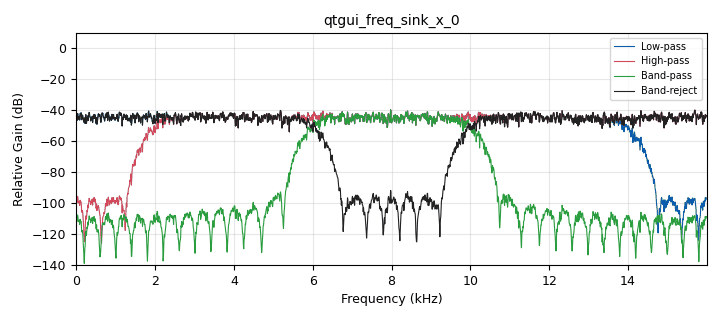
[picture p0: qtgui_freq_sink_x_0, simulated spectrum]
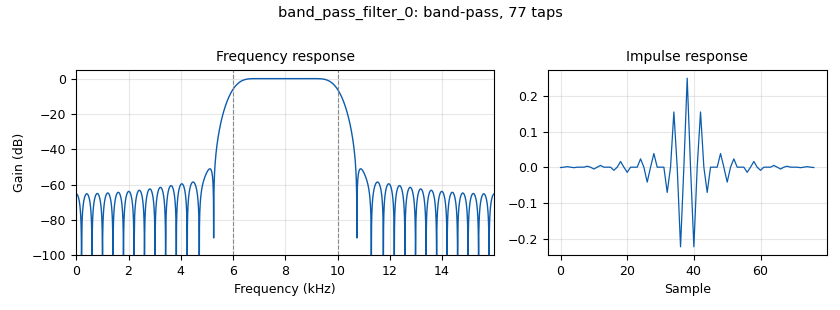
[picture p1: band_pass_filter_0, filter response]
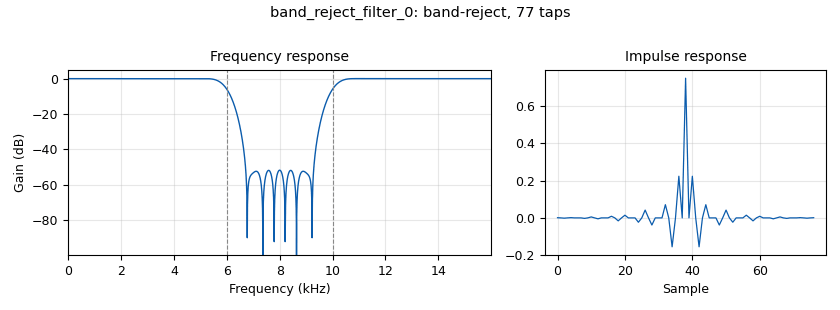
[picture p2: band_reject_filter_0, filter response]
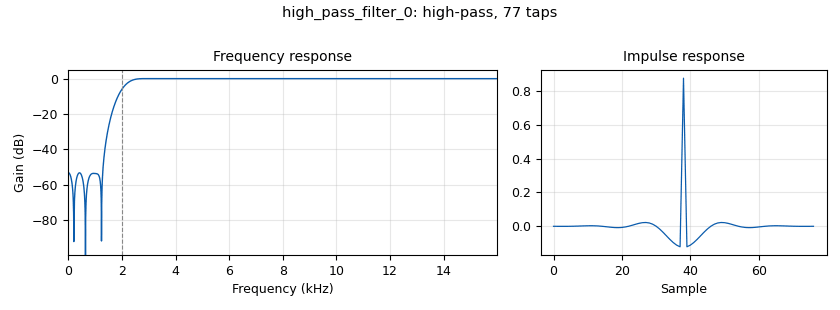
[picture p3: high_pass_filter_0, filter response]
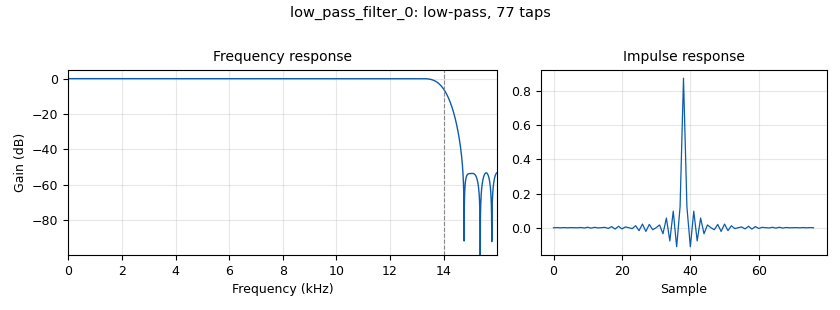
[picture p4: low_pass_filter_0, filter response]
options:
  parameters:
    author: Jay Patel; GNURadio
    category: Custom
    description: Filter taps Introduction
    generate_options: qt_gui
    id: filter_taps
    output_language: python
    title: Filter Introduction
  states: {}

blocks:
- name: bp_high
  id: variable
  parameters:
    value: '10000'
  states: {state: disabled}
- name: bp_high
  id: variable_qtgui_range
  parameters:
    comment: BP_lower_cutoff
    label: BP High-cutoff
    rangeType: int
    start: '9000'
    step: '1000'
    stop: '13000'
    value: '10000'
  states: {}
- name: bp_low
  id: variable
  parameters:
    value: '6000'
  states: {state: disabled}
- name: bp_low
  id: variable_qtgui_range
  parameters:
    comment: BP_lower_cutoff
    label: BP Low-cutoff
    rangeType: int
    start: '2000'
    step: '1000'
    stop: '8000'
    value: '6000'
  states: {}
- name: bp_taps
  id: variable_band_pass_filter_taps
  parameters:
    gain: '1.0'
    high_cutoff_freq: bp_high
    low_cutoff_freq: bp_low
    samp_rate: samp_rate
    type: band_pass
    width: transition
    win: window.WIN_HAMMING
  states: {}
- name: bp_taps_value
  id: variable
  parameters:
    value: print("This is bp_taps",bp_taps)
  states: {state: disabled}
- name: br_taps
  id: variable_band_reject_filter_taps
  parameters:
    gain: '1.0'
    high_cutoff_freq: bp_high
    low_cutoff_freq: bp_low
    samp_rate: samp_rate
    type: band_reject
    width: transition
    win: window.WIN_HAMMING
  states: {}
- name: hp_cutoff
  id: variable
  parameters:
    value: '2000'
  states: {state: disabled}
- name: hp_cutoff
  id: variable_qtgui_range
  parameters:
    comment: High-pass cutoff
    label: HP Cutoff
    rangeType: int
    start: '1000'
    step: '1000'
    stop: '6000'
    value: '2000'
  states: {}
- name: hp_taps
  id: variable_high_pass_filter_taps
  parameters:
    cutoff_freq: hp_cutoff
    gain: '1.0'
    samp_rate: samp_rate
    width: transition
    win: window.WIN_HAMMING
  states: {}
- name: hp_taps_value
  id: variable
  parameters:
    value: print("This is hp_taps",hp_taps)
  states: {state: disabled}
- name: len_taps
  id: variable
  parameters:
    comment: |-
      Display the number
      of taps (coefficients)
    value: len(lp_taps)
  states: {}
- name: lp_cutoff
  id: variable
  parameters:
    value: '14000'
  states: {state: disabled}
- name: lp_cutoff
  id: variable_qtgui_range
  parameters:
    comment: Low-pass cutoff
    label: LP Cutoff
    rangeType: int
    start: '10000'
    step: '1000'
    stop: '16000'
    value: '14000'
  states: {}
- name: lp_taps
  id: variable_low_pass_filter_taps
  parameters:
    cutoff_freq: lp_cutoff
    gain: '1.0'
    samp_rate: samp_rate
    width: transition
    win: window.WIN_HAMMING
  states: {}
- name: lp_taps_value
  id: variable
  parameters:
    value: print("This is lp_taps",lp_taps)
  states: {state: disabled}
- name: samp_rate
  id: variable
  parameters:
    value: '32000'
  states: {}
- name: sps
  id: variable
  parameters:
    value: '2'
  states: {}
- name: sym_rate
  id: variable
  parameters:
    value: samp_rate/sps
  states: {}
- name: transition
  id: variable
  parameters:
    value: '1000'
  states: {state: disabled}
- name: transition
  id: variable_qtgui_range
  parameters:
    comment: transition_width
    label: Transition width
    rangeType: int
    start: '500'
    step: '100'
    stop: '15000'
    value: '1000'
  states: {}
- name: analog_fastnoise_source_x_0
  id: analog_fastnoise_source_x
  parameters:
    amp: '1'
    comment: Signal Source
    noise_type: analog.GR_GAUSSIAN
    samples: '8192'
    seed: '0'
    type: float
  states: {}
- name: band_pass_filter_0
  id: band_pass_filter
  parameters:
    comment: Band-Pass Filter
    decim: '1'
    gain: '1'
    high_cutoff_freq: bp_high
    low_cutoff_freq: bp_low
    samp_rate: samp_rate
    type: fir_filter_fff
    width: transition
    win: window.WIN_HAMMING
  states: {}
- name: band_reject_filter_0
  id: band_reject_filter
  parameters:
    comment: Band-Reject Filter
    decim: '1'
    gain: '1'
    high_cutoff_freq: bp_high
    low_cutoff_freq: bp_low
    samp_rate: samp_rate
    type: fir_filter_fff
    width: transition
    win: window.WIN_HAMMING
  states: {}
- name: blocks_null_sink_0
  id: blocks_null_sink
  parameters:
    type: float
  states: {}
- name: blocks_null_source_0
  id: blocks_null_source
  parameters:
    type: float
  states: {}
- name: blocks_throttle_0
  id: blocks_throttle
  parameters:
    samples_per_second: samp_rate
    type: float
  states: {}
- name: bp_filter
  id: fir_filter_xxx
  parameters:
    comment: Band-pass filter
    decim: '1'
    taps: bp_taps
    type: fff
  states: {state: disabled}
- name: br_filter
  id: fir_filter_xxx
  parameters:
    comment: Band-reject filter
    decim: '1'
    taps: br_taps
    type: fff
  states: {state: disabled}
- name: high_pass_filter_0
  id: high_pass_filter
  parameters:
    comment: High-pass filter
    cutoff_freq: hp_cutoff
    decim: '1'
    gain: '1'
    samp_rate: samp_rate
    type: fir_filter_fff
    width: transition
    win: window.WIN_HAMMING
  states: {}
- name: hp_filter
  id: fir_filter_xxx
  parameters:
    comment: High-pass filter
    decim: '1'
    taps: hp_taps
    type: fff
  states: {state: disabled}
- name: low_pass_filter_0
  id: low_pass_filter
  parameters:
    comment: Low-pass filter
    cutoff_freq: lp_cutoff
    decim: '1'
    gain: '1'
    samp_rate: samp_rate
    type: fir_filter_fff
    width: transition
    win: window.WIN_HAMMING
  states: {}
- name: lp_filter
  id: fir_filter_xxx
  parameters:
    comment: Low-pass filter
    decim: '1'
    taps: lp_taps
    type: fff
  states: {state: disabled}
- name: note_0
  id: note
  parameters:
    comment: |-
      the number of taps is not dependent on 
      the center frequency but only on the 
      transition width (or more accurately, on the
      ratio of the sampling rate to the transition width).

      |---------------|--------------------|----------------|
      | No. of Taps | Transition BW   | Cut off         |
      |---------------|--------------------|----------------|
      |       77         |        1000           |  14000   	|
      |---------------|--------------------|----------------|
      |       51         |        1500           |  14000  	|
      |---------------|--------------------|----------------|
      |       39         |        2000           |  14000   	|
      |---------------|--------------------|----------------|
      |       25         |        3000           |  14000   	|
      |---------------|--------------------|----------------|
      |       19         |        4000           |  14000   	|
      |---------------|--------------------|----------------|
      |       11         |        6500           |  14000   	|
      |---------------|--------------------|----------------|
      |       09         |        8000           |  14000   	|
      |---------------|--------------------|----------------|
      |       05         |        1300           |  15500   	|
      |---------------|--------------------|----------------|
    note: 'Note:'
  states: {}
- name: qtgui_freq_sink_x_0
  id: qtgui_freq_sink_x
  parameters:
    alpha1: '0.9'
    alpha2: '0.9'
    alpha3: '0.9'
    alpha4: '0.9'
    average: '0.2'
    bw: samp_rate
    comment: GUI
    ctrlpanel: 'True'
    fc: '0'
    fftsize: '4096'
    freqhalf: 'False'
    grid: 'True'
    label1: Low-pass
    label2: High-pass
    label3: Band-pass
    label4: Band-reject
    nconnections: '4'
    showports: 'True'
    type: float
  states: {}

connections:
- [analog_fastnoise_source_x_0, '0', band_pass_filter_0, '0']
- [analog_fastnoise_source_x_0, '0', band_reject_filter_0, '0']
- [analog_fastnoise_source_x_0, '0', bp_filter, '0']
- [analog_fastnoise_source_x_0, '0', br_filter, '0']
- [analog_fastnoise_source_x_0, '0', high_pass_filter_0, '0']
- [analog_fastnoise_source_x_0, '0', hp_filter, '0']
- [analog_fastnoise_source_x_0, '0', low_pass_filter_0, '0']
- [analog_fastnoise_source_x_0, '0', lp_filter, '0']
- [band_pass_filter_0, '0', qtgui_freq_sink_x_0, '2']
- [band_reject_filter_0, '0', qtgui_freq_sink_x_0, '3']
- [blocks_null_source_0, '0', blocks_throttle_0, '0']
- [blocks_throttle_0, '0', blocks_null_sink_0, '0']
- [bp_filter, '0', qtgui_freq_sink_x_0, '2']
- [br_filter, '0', qtgui_freq_sink_x_0, '3']
- [high_pass_filter_0, '0', qtgui_freq_sink_x_0, '1']
- [hp_filter, '0', qtgui_freq_sink_x_0, '1']
- [low_pass_filter_0, '0', qtgui_freq_sink_x_0, '0']
- [lp_filter, '0', qtgui_freq_sink_x_0, '0']

metadata:
  file_format: 1
